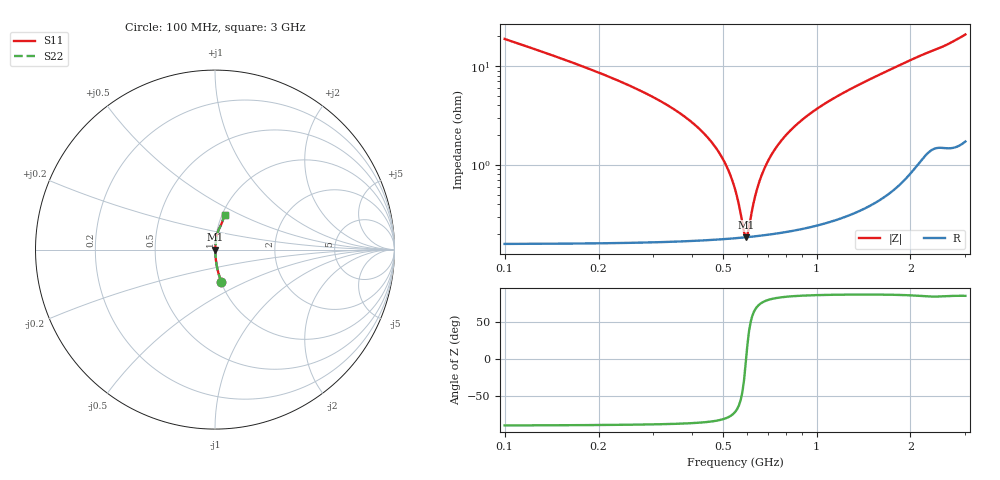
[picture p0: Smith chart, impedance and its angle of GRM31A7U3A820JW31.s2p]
!Murata Part Number: GRM31A7U3A820JW31
!These Parameters are Measured in Series Mode Connection
!Data Generated on Mar 30, 2021
!  o--ll--o
!Port1  Port2
!  o------o
!Operation Temp=25[degC], DC Bias Voltage=0[V]
!Freq. Start=100[MHz] Stop=3[GHz] 401[Steps]
# Hz S RI R 50
!Freq.(Hz) S11(Real) S11(Imag) S21(Real) S21(Imag) S12(Real) S12(Imag) S22(Real) S22(Imag)
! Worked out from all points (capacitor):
!   401 points, 100 MHz to 3 GHz, reference 50 ohm
!   read as one part in series: C = 81.9 pF near 114.5 MHz
!   lowest |Z| = 185 mohm at 593 MHz (marker M1)
!   series resonance near 594.4 MHz, so ESL is about 870 pH
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1e8  0.0358 -0.1816  0.9642 0.1816  0.9642 0.1816  0.0358 -0.1816
2.2325e8  0.00715 -0.0741  0.9929 0.0741  0.9929 0.0741  0.00715 -0.0741
3.8275e8  0.00257 -0.0297  0.9974 0.0297  0.9974 0.0297  0.00257 -0.0297
4.6975e8  0.00198 -0.0156  0.998 0.0156  0.998 0.0156  0.00198 -0.0156
5.06e8  0.00188 -0.0106  0.9981 0.0106  0.9981 0.0106  0.00188 -0.0106
5.35e8  0.00184 -0.00693  0.9982 0.00693  0.9982 0.00693  0.00184 -0.00693
5.5675e8  0.00183 -0.00431  0.9982 0.00431  0.9982 0.00431  0.00183 -0.00431
5.8575e8  0.00184 -0.000967  0.9982 0.000967  0.9982 0.000967  0.00184 -0.000967
5.93e8  0.00184 -0.000158  0.9982 0.000158  0.9982 0.000158  0.00184 -0.000158
6.075e8  0.00186 0.00143  0.9981 -0.00143  0.9981 -0.00143  0.00186 0.00143
6.365e8  0.00191 0.00451  0.9981 -0.00451  0.9981 -0.00451  0.00191 0.00451
6.655e8  0.00197 0.00747  0.998 -0.00747  0.998 -0.00747  0.00197 0.00747
6.945e8  0.00206 0.0103  0.9979 -0.0103  0.9979 -0.0103  0.00206 0.0103
7.38e8  0.00221 0.0144  0.9978 -0.0144  0.9978 -0.0144  0.00221 0.0144
7.96e8  0.00247 0.0196  0.9975 -0.0196  0.9975 -0.0196  0.00247 0.0196
8.685e8  0.00286 0.0258  0.9971 -0.0258  0.9971 -0.0258  0.00286 0.0258
1.0715e9  0.00433 0.042  0.9957 -0.042  0.9957 -0.042  0.00433 0.042
1.28175e9  0.00646 0.0578  0.9935 -0.0578  0.9935 -0.0578  0.00646 0.0578
1.55e9  0.0102 0.0776  0.9898 -0.0776  0.9898 -0.0776  0.0102 0.0776
2.03575e9  0.022 0.1142  0.978 -0.1142  0.978 -0.1142  0.022 0.1142
2.5215e9  0.0373 0.1477  0.9627 -0.1477  0.9627 -0.1477  0.0373 0.1477
3e9  0.0567 0.1935  0.9433 -0.1935  0.9433 -0.1935  0.0567 0.1935
